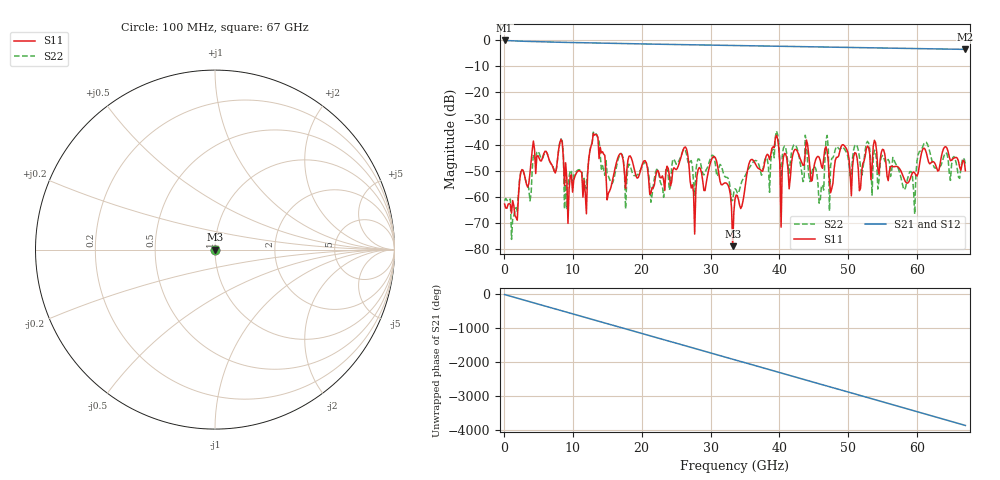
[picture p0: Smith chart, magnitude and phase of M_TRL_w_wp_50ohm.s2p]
! Touchstone file exported from HFSS 2021.2.0
!  File:  D:/20220920 new project/ISC_3rd_design/NewISC_3_with_imtiaz_dim_connector.aedt
!  Generated:  10:32:09 AM  Aug 03, 2023
!  Design:  DUT_51
!  Project:  NewISC_3_with_imtiaz_dim_connector
!  Setup:  Setup2
!  Solution:  Sweep
! Variables:
!  $_L_pin_on = 0.01nH
!  $_R_pin_on = 1ohm
!  Con_T = 0.012mm
!  Con_W = 0.11534mm
!  DUT = 30.8024mm
!  Gap = 0.71534mm
!  Gap_connector_vias = 1mm
!  Radius = 0.225mm
!  Space = 0.837mm
!  Sub_L = 9.5988mm
!  Sub_T = 0.05mm
!  Sub_W = 13.8408mm
!  Vias_N = 49
!  Vias_gap = 1mm
!  quater_wave_L = 1.2798mm
!Created with skrf (http://scikit-rf.org).
# GHz S RI R 50.0
! Port[1] = 1
! Port[2] = 2
!freq ReS11 ImS11 ReS21 ImS21 ReS12 ImS12 ReS22 ImS22
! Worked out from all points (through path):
!   401 points, 100 MHz to 67 GHz, reference 50 ohm
!   highest |S21| = -0.06 dB at 100 MHz (marker M1); lowest = -3.5 dB at 67 GHz (marker M2)
!   group delay of S21, straight-line fit = 160 ps
!   lowest |S11| = -78.9 dB at 33.22 GHz (marker M3), VSWR 1.00, Z = 50 + j0.0111 ohm
!   |S11| at or under -10 dB: start of sweep to end of sweep
!   |S22| runs from -76.3 to -34.8 dB; largest |S21 - S12| = 0.00013
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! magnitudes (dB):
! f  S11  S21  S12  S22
! 100 MHz  -62.8  -0.1  -0.1  -61.5
! 1.438 GHz  -63.4  -0.2  -0.2  -67.4
! 4.449 GHz  -41.9  -0.5  -0.5  -44.9
! 11.31 GHz  -50.8  -0.9  -0.9  -50.5
! 13.31 GHz  -36.1  -1.0  -1.0  -35.7
! 15.32 GHz  -57.9  -1.2  -1.1  -53.1
! 16.82 GHz  -43.6  -1.2  -1.2  -43.8
! 22.51 GHz  -50.9  -1.5  -1.5  -51.6
! 26.36 GHz  -40.9  -1.7  -1.7  -42.2
! 27.53 GHz  -58.2  -1.7  -1.7  -54.4
! 30.54 GHz  -44.6  -1.9  -1.9  -45.2
! 33.22 GHz  -78.9  -2.0  -2.0  -61.4
! 33.72 GHz  -59.3  -2.0  -2.0  -57.3
! 39.4 GHz  -37.6  -2.3  -2.3  -37.1
! 40.41 GHz  -49.2  -2.3  -2.3  -44.6
! 44.76 GHz  -53.7  -2.5  -2.5  -50.1
! 46.09 GHz  -48.2  -2.6  -2.6  -56.0
! 46.76 GHz  -40.8  -2.6  -2.6  -38.2
! 47.6 GHz  -56.8  -2.7  -2.7  -45.2
! 49.27 GHz  -40.0  -2.7  -2.7  -41.1
! 55.96 GHz  -50.2  -3.0  -3.0  -46.6
! 67 GHz  -50.0  -3.5  -3.5  -47.2
